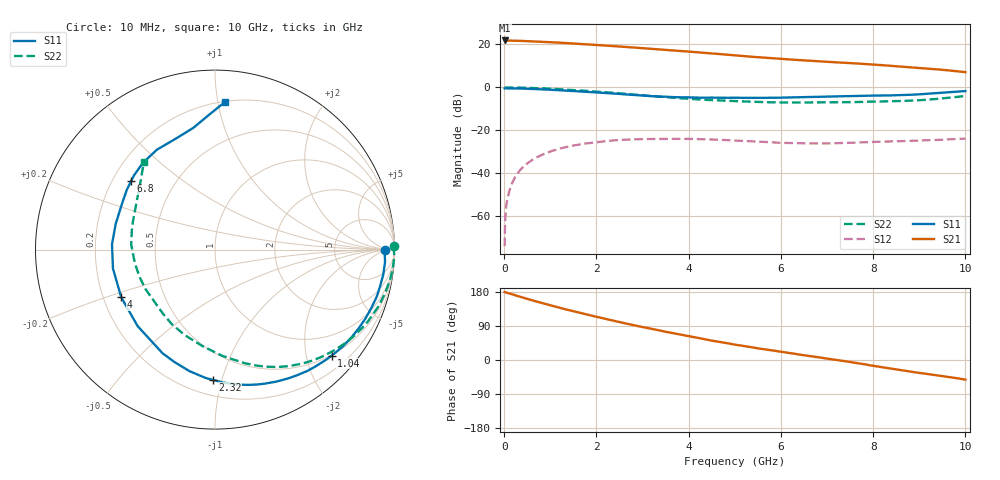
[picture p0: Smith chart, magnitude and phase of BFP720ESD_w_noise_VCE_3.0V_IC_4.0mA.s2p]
! Infineon Technologies  Discrete & RF Semiconductors
! BFP720ESD
! VCE =  3.0 V,  IC =  4.0 mA
! Common Emitter S-Parameters:  Jan 2016
# GHz  S  MA  R  50
!  f  S11  S21  S12  S22
! GHz  MAG  ANG  MAG  ANG  MAG  ANG  MAG  ANG
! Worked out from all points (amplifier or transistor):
!   233 points, 10 MHz to 10 GHz, reference 50 ohm
!   highest |S21| = 21.9 dB at 10 MHz (marker M1)
!   |S21| within 3 dB of that: start of sweep to 2.624 GHz
!   unconditionally stable (mu >= 1): start of sweep to 10.47 MHz; 6.03 GHz to 9.437 GHz
!   at 200 MHz: K = 0.05, MSG = 32.6 dB, |S12| = -43.3 dB
!   at 1.74 GHz: K = 0.24, MSG = 23.2 dB, |S12| = -26.2 dB
!   at 10 GHz: K = 0.71, MSG = 15.5 dB, |S12| = -23.8 dB
!   lowest NFmin = 0.53 dB at 450 MHz
!   S11 on the Smith chart (normalised r, x): 10 MHz: 35, +0; 1.04 GHz: 0.49, -2.50; 2.32 GHz: 0.31, -0.94; 4 GHz: 0.27, -0.22; 6.8 GHz: 0.28, +0.33; 10 GHz: 0.21, +1.05
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0.01  0.9448 0.0  12.39 179.2  0.0002 -5.8  0.9961 1.0
0.02  0.9548 -0.7  12.25 178.9  0.0007 77.5  0.996 -0.3
0.05  0.9463 -1.8  12.23 177.7  0.0019 82.7  0.9988 -1.2
0.19  0.9481 -7.9  12.27 172.7  0.0065 83.8  0.9964 -5.4
0.34  0.9407 -14.1  12.15 167.1  0.0116 79.9  0.9896 -9.7
0.6  0.9219 -24.7  11.85 157.7  0.0201 72.6  0.9707 -16.9
1.04  0.878 -42.3  11.24 143.2  0.0331 60.5  0.9252 -28.8
1.34  0.8439 -54.3  10.79 133.5  0.0406 52.8  0.8879 -36.6
1.68  0.804 -67.3  10.25 123.2  0.0477 44.6  0.8431 -45.0
1.92  0.7759 -76.2  9.856 116.3  0.0519 39.4  0.811 -50.6
2.32  0.7257 -91.0  9.236 105.1  0.0575 30.9  0.7539 -59.8
2.9  0.6561 -113.0  8.346 89.5  0.0622 19.6  0.6674 -73.2
3.4  0.6092 -131.4  7.59 77.2  0.0633 11.5  0.603 -83.9
4  0.586 -153.1  6.836 62.8  0.0632 3.4  0.543 -97.2
4.5  0.5782 -169.6  6.204 51.1  0.0614 -2.6  0.5053 -109.4
5.1  0.5721 174.7  5.462 38.8  0.0574 -7.4  0.4749 -121.9
6  0.5766 154.9  4.619 21.7  0.0512 -9.5  0.445 -139.7
6.8  0.6033 140.8  4.057 7.4  0.0495 -6.9  0.4448 -156.0
7.6  0.6301 127.8  3.632 -7.1  0.0516 -4.3  0.4545 -173.5
8.4  0.6512 111.7  3.168 -22.9  0.055 -4.5  0.4758 166.7
9  0.689 100.1  2.832 -34.1  0.0578 -5.0  0.5026 151.6
10  0.8215 86.3  2.268 -51.8  0.0642 -7.4  0.6298 128.9
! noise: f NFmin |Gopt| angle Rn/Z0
0.45  0.53  0.54  6  0.16
0.9  0.56  0.53  13  0.17
1.9  0.61  0.47  34  0.15
2.4  0.66  0.44  41  0.16
5.5  0.91  0.2  122  0.09
10  1.66  0.57  -100  0.41
